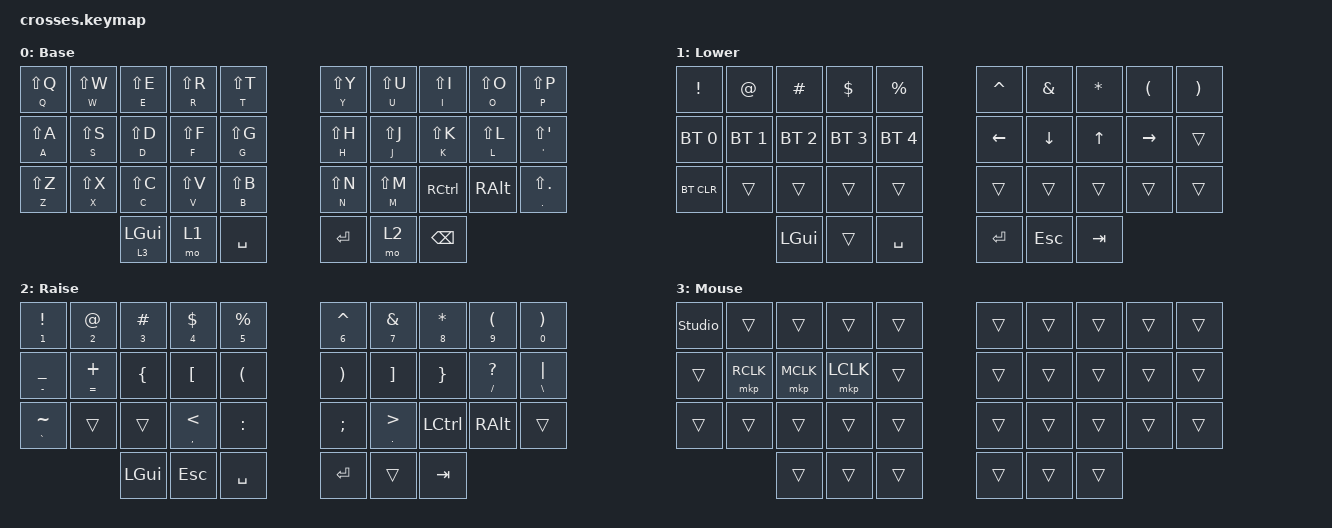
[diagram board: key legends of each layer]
#include <behaviors.dtsi>
#include <dt-bindings/zmk/bt.h>
#include <dt-bindings/zmk/keys.h>
#include <dt-bindings/zmk/outputs.h>
#include <dt-bindings/zmk/pointing.h>

/ {
    chosen { zmk,physical-layout = &gggw_crosses_36_layout; };

    behaviors {
        as: auto_shift {
            compatible = "zmk,behavior-hold-tap";
            #binding-cells = <2>;
            tapping_term_ms = <200>;
            quick_tap_ms = <0>;
            flavor = "tap-preferred";
            bindings = <&kp>, <&kp>;
        };
    };

    keymap {
        compatible = "zmk,keymap";

        default_layer {
            display-name = "Base";
            bindings = <
              &as Q LS(Q)  &as W LS(W)  &as E LS(E)     &as R LS(R)  &as T LS(T)      &as Y LS(Y)  &as U LS(U)  &as I LS(I)  &as O LS(O)  &as P LS(P)
              &as A LS(A)  &as S LS(S)  &as D LS(D)     &as F LS(F)  &as G LS(G)      &as H LS(H)  &as J LS(J)  &as K LS(K)  &as L LS(L)  &as SQT LS(SQT)
              &as Z LS(Z)  &as X LS(X)  &as C LS(C)     &as V LS(V)  &as B LS(B)      &as N LS(N)  &as M LS(M)  &kp RCTRL    &kp RALT     &as DOT LS(DOT)
                                        &lt 3 LEFT_GUI  &mo 1        &kp SPACE        &kp RET      &mo 2        &kp BSPC
            >;
        };

        lower_layer {
            display-name = "Lower";
            bindings = <
              &kp EXCL      &kp AT        &kp HASH      &kp DLLR      &kp PRCNT       &kp CARET    &kp AMPS     &kp ASTRK   &kp LPAR   &kp RPAR
              &bt BT_SEL 0  &bt BT_SEL 1  &bt BT_SEL 2  &bt BT_SEL 3  &bt BT_SEL 4    &kp LEFT     &kp DOWN     &kp UP      &kp RIGHT  &trans
              &bt BT_CLR    &trans        &trans        &trans        &trans          &trans       &trans       &trans      &trans     &trans
                                          &kp LGUI      &trans        &kp SPACE       &kp RET      &kp ESC      &kp TAB
            >;
        };

        raise_layer {
            display-name = "Raise";
            bindings = <
              &as N1 EXCL      &as N2 AT       &as N3 HASH  &as N4 DOLLAR        &as N5 PERCENT    &as N6 CARET  &as N7 AMPS           &as N8 ASTRK  &as N9 LEFT_PARENTHESIS  &as N0 RIGHT_PARENTHESIS
              &as MINUS UNDER  &as EQUAL PLUS  &kp LBRC     &kp LBKT             &kp LPAR          &kp RPAR      &kp RBKT              &kp RBRC      &as FSLH QUESTION        &as BSLH PIPE
              &as GRAVE TILDE  &trans          &trans       &as COMMA LESS_THAN  &kp COLON         &kp SEMI      &as DOT GREATER_THAN  &kp LCTRL     &kp RALT                 &trans
                                               &kp LGUI     &kp ESC              &kp SPACE         &kp RET       &trans                &kp TAB
            >;
        };

        mouse_layer {
            display-name = "Mouse";
            bindings = <
              &studio_unlock  &trans    &trans     &trans     &trans     &trans  &trans  &trans  &trans  &trans
              &trans          &mkp RCLK &mkp MCLK  &mkp LCLK  &trans     &trans  &trans  &trans  &trans  &trans
              &trans          &trans    &trans     &trans     &trans     &trans  &trans  &trans  &trans  &trans
                                        &trans     &trans     &trans     &trans  &trans  &trans
            >;
        };
    };
};
